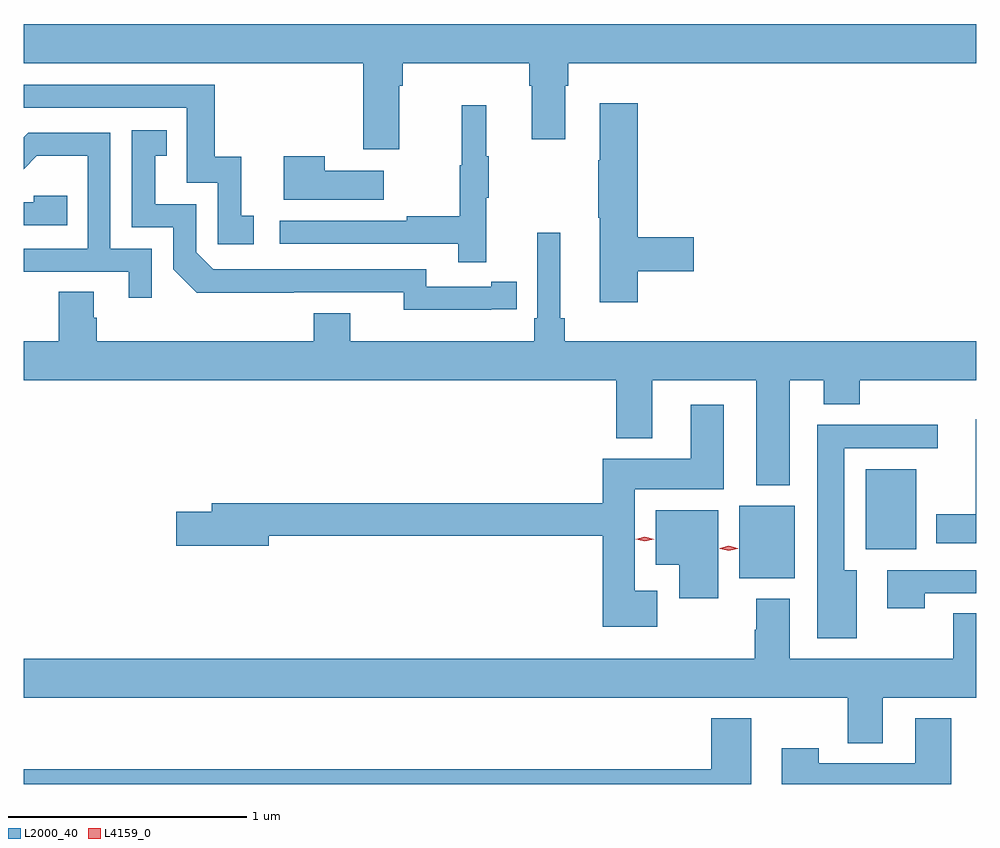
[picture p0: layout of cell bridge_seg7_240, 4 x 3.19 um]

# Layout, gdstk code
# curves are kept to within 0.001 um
import gdstk
lib = gdstk.Library(unit=1e-6, precision=1e-09)
def R(c, l, rs):  # rectangles x0, y0, x1, y1
    for r in rs: c.add(gdstk.rectangle(r[:2], r[2:], *l))
def P(c, l, *ps):  # polygons
    for p in ps: c.add(gdstk.Polygon(p, *l))
L2000_40 = (2000, 40)
L4159_0 = (4159, 0)

bridge_seg7_240 = lib.new_cell('bridge_seg7_240')
R(bridge_seg7_240, L2000_40, [(259.385,1059.725,259.618,1060.03), (259.916,1059.848,260.128,1060.183)])
P(bridge_seg7_240, L2000_40, [(257.959,1061.792),(257.972,1061.792),(257.972,1061.888),(258.503,1061.888),(258.503,1061.792),(258.515,1061.792),(258.515,1061.568),(258.655,1061.568),(258.655,1061.792),(258.668,1061.792),(258.668,1061.888),(260.381,1061.888),(260.381,1062.052),(256.381,1062.052),(256.381,1061.888),(257.807,1061.888),(257.807,1061.526),(257.959,1061.526)],
  [(257.347,1061.247),(257.294,1061.247),(257.294,1061.494),(257.183,1061.494),(257.183,1061.796),(256.381,1061.796),(256.381,1061.7),(257.067,1061.7),(257.067,1061.385),(257.196,1061.385),(257.196,1061.127),(257.347,1061.127)],
  [(258.959,1061.014),(259.195,1061.014),(259.195,1061.156),(258.959,1061.156),(258.959,1061.719),(258.8,1061.719),(258.8,1061.48),(258.793,1061.48),(258.793,1061.239),(258.8,1061.239),(258.8,1060.884),(258.959,1060.884)],
  [(258.323,1061.323),(258.334,1061.323),(258.334,1061.497),(258.323,1061.497),(258.323,1061.71),(258.22,1061.71),(258.22,1061.46),(258.213,1061.46),(258.213,1061.246),(257.989,1061.246),(257.989,1061.226),(257.457,1061.226),(257.457,1061.13),(258.205,1061.13),(258.205,1061.052),(258.323,1061.052)],
  [(258.344,1060.854),(258.452,1060.854),(258.452,1060.97),(258.344,1060.97),(258.344,1060.95),(258.072,1060.95),(258.072,1061.022),(257.178,1061.022),(257.106,1061.094),(257.106,1061.295),(256.933,1061.295),(256.933,1061.499),(256.982,1061.499),(256.982,1061.605),(256.836,1061.605),(256.836,1061.199),(257.01,1061.199),(257.01,1061.022),(257.108,1060.925),(257.976,1060.926),(257.976,1060.853)],
  [(256.92,1061.109),(256.746,1061.109),(256.746,1061.595),(256.4,1061.595),(256.381,1061.576),(256.381,1061.443),(256.436,1061.498),(256.65,1061.498),(256.65,1061.109),(256.381,1061.109),(256.381,1061.013),(256.823,1061.013),(256.823,1060.902),(256.92,1060.902)],
  [(257.893,1061.437),(257.645,1061.437),(257.645,1061.497),(257.474,1061.497),(257.474,1061.315),(257.893,1061.315)],
  [(256.565,1061.331),(256.425,1061.331),(256.425,1061.304),(256.381,1061.304),(256.381,1061.208),(256.565,1061.208)],
  [(259.597,1060.556),(259.739,1060.556),(259.739,1060.457),(259.892,1060.457),(259.892,1060.556),(260.381,1060.556),(260.381,1060.72),(258.653,1060.72),(258.653,1060.816),(258.634,1060.816),(258.634,1061.176),(258.537,1061.176),(258.537,1060.816),(258.524,1060.816),(258.524,1060.72),(257.752,1060.72),(257.752,1060.837),(257.6,1060.837),(257.6,1060.72),(256.688,1060.72),(256.688,1060.818),(256.675,1060.818),(256.675,1060.928),(256.528,1060.928),(256.528,1060.72),(256.381,1060.72),(256.381,1060.556),(258.869,1060.556),(258.869,1060.313),(259.021,1060.313),(259.021,1060.556),(259.457,1060.556),(259.457,1060.115),(259.597,1060.115)],
  [(259.041,1059.673),(258.946,1059.673),(258.946,1060.1),(259.321,1060.1),(259.321,1060.453),(259.181,1060.453),(259.181,1060.228),(258.812,1060.228),(258.812,1060.04),(257.171,1060.04),(257.171,1060.004),(257.022,1060.004),(257.022,1059.862),(257.41,1059.862),(257.41,1059.904),(258.812,1059.904),(258.812,1059.521),(259.041,1059.521)],
  [(260.381,1060.393),(260.378,1060.393),(260.378,1059.994),(260.213,1059.994),(260.213,1059.872),(260.381,1059.872)],
  [(259.879,1059.76),(259.825,1059.76),(259.825,1060.272),(260.218,1060.272),(260.218,1060.37),(259.712,1060.37),(259.712,1059.474),(259.879,1059.474)],
  [(259.297,1060.012),(259.034,1060.012),(259.034,1059.782),(259.133,1059.782),(259.133,1059.642),(259.297,1059.642)],
  [(260.163,1059.663),(260.381,1059.663),(260.381,1059.759),(260.007,1059.759),(260.007,1059.6),(260.163,1059.6)],
  [(259.987,1059.224),(260.381,1059.224),(260.381,1059.578),(260.284,1059.578),(260.284,1059.388),(259.597,1059.388),(259.597,1059.64),(259.457,1059.64),(259.457,1059.509),(259.45,1059.509),(259.45,1059.388),(256.381,1059.388),(256.381,1059.224),(259.84,1059.224),(259.84,1059.034),(259.987,1059.034)],
  [(259.435,1059.139),(259.268,1059.139),(259.268,1058.923),(256.381,1058.923),(256.381,1058.862),(259.435,1058.862)],
  [(260.276,1059.139),(260.123,1059.139),(260.123,1058.949),(259.719,1058.949),(259.719,1059.013),(259.563,1059.013),(259.563,1058.862),(260.276,1058.862)])
P(bridge_seg7_240, L4159_0, [(259.341,1059.841),(259.303,1059.85),(259.303,1059.851),(259.303,1059.851),(259.341,1059.861),(259.379,1059.851),(259.379,1059.851),(259.379,1059.85)],
  [(258.989,1059.88),(258.95,1059.889),(258.949,1059.889),(258.95,1059.89),(258.989,1059.899),(259.029,1059.89),(259.029,1059.89),(259.029,1059.889)])

lib.write_gds('bridge_seg7_240.gds')
